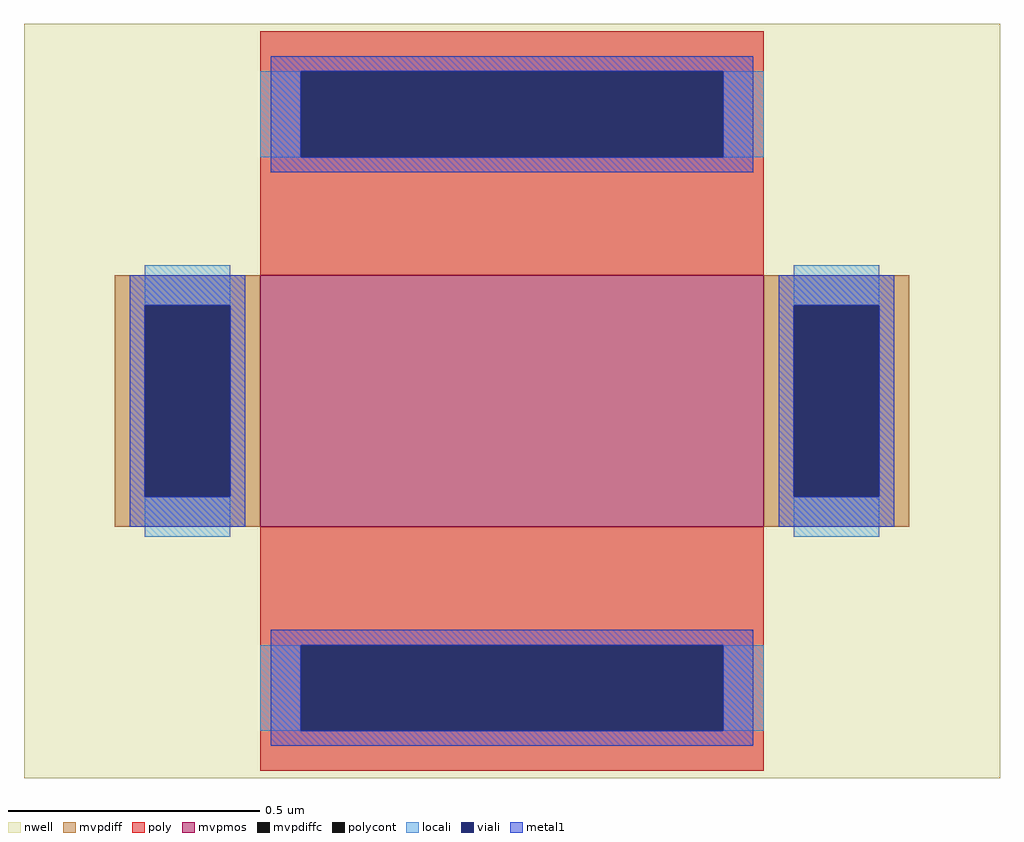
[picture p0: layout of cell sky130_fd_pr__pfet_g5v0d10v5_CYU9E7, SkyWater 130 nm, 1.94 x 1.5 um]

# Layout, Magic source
magic
tech sky130A
magscale 1 2
<< nwell >>
rect -194 -150 194 150
<< mvpmos >>
rect -100 -50 100 50
<< mvpdiff >>
rect -158 38 -100 50
rect -158 -38 -146 38
rect -112 -38 -100 38
rect -158 -50 -100 -38
rect 100 38 158 50
rect 100 -38 112 38
rect 146 -38 158 38
rect 100 -50 158 -38
<< mvpdiffc >>
rect -146 -38 -112 38
rect 112 -38 146 38
<< poly >>
rect -100 131 100 147
rect -100 97 -84 131
rect 84 97 100 131
rect -100 50 100 97
rect -100 -97 100 -50
rect -100 -131 -84 -97
rect 84 -131 100 -97
rect -100 -147 100 -131
<< polycont >>
rect -84 97 84 131
rect -84 -131 84 -97
<< locali >>
rect -100 97 -84 131
rect 84 97 100 131
rect -146 38 -112 54
rect -146 -54 -112 -38
rect 112 38 146 54
rect 112 -54 146 -38
rect -100 -131 -84 -97
rect 84 -131 100 -97
<< viali >>
rect -84 97 84 131
rect -146 -38 -112 38
rect 112 -38 146 38
rect -84 -131 84 -97
<< metal1 >>
rect -96 131 96 137
rect -96 97 -84 131
rect 84 97 96 131
rect -96 91 96 97
rect -152 38 -106 50
rect -152 -38 -146 38
rect -112 -38 -106 38
rect -152 -50 -106 -38
rect 106 38 152 50
rect 106 -38 112 38
rect 146 -38 152 38
rect 106 -50 152 -38
rect -96 -97 96 -91
rect -96 -131 -84 -97
rect 84 -131 96 -97
rect -96 -137 96 -131
<< properties >>
string gencell sky130_fd_pr__pfet_g5v0d10v5
string library sky130
string parameters w 0.5 l 1 m 1 nf 1 diffcov 100 polycov 100 guard 0 glc 1 grc 1 gtc 1 gbc 1 tbcov 100 rlcov 100 topc 1 botc 1 poverlap 0 doverlap 1 lmin 0.50 wmin 0.42 compatible {sky130_fd_pr__pfet_01v8  sky130_fd_pr__pfet_01v8_lvt sky130_fd_pr__pfet_01v8_hvt  sky130_fd_pr__pfet_g5v0d10v5} full_metal 1 viasrc 100 viadrn 100 viagate 100 viagb 0 viagr 0 viagl 0 viagt 0
<< end >>
